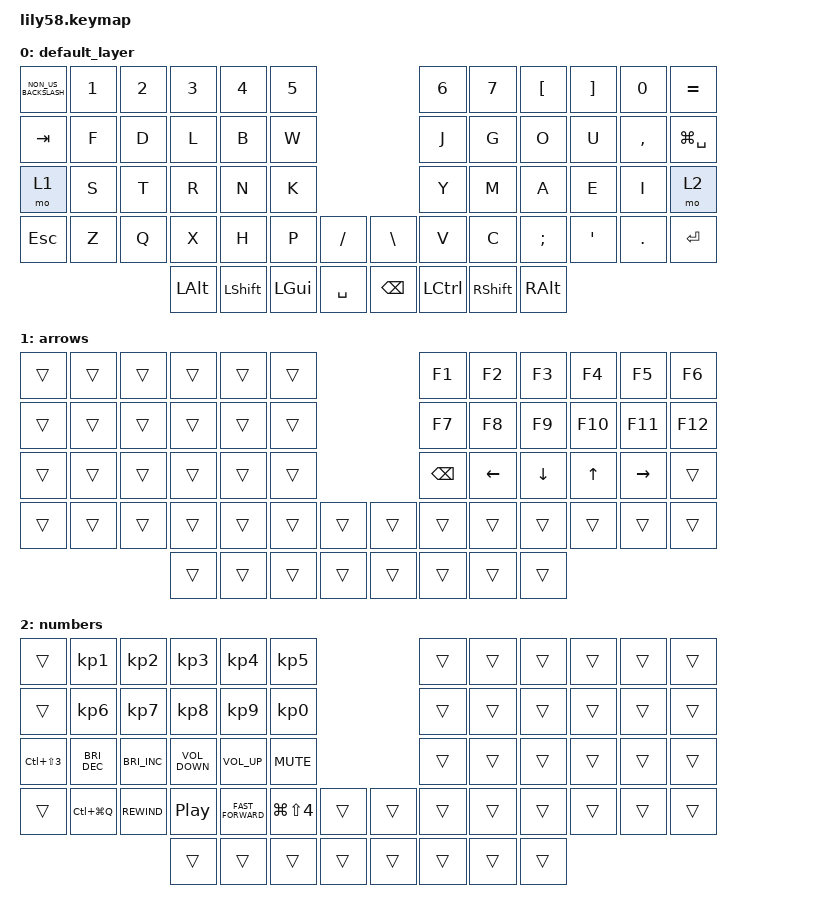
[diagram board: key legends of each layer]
/*
 * Copyright (c) 2020 The ZMK Contributors
 *
 * SPDX-License-Identifier: MIT
 */

#include <behaviors.dtsi>
#include <dt-bindings/zmk/keys.h>

/ {
    combos { compatible = "zmk,combos"; };

    behaviors {
        kh_hs_tapdance: kh_hs_tapdance {
            compatible = "zmk,behavior-tap-dance";
            label = "KH_HS_TAPDANCE";
            #binding-cells = <0>;
            tapping-term-ms = <200>;
            bindings = <&kp LEFT_BRACKET>, <&kp RIGHT_BRACKET>;
        };

        hrm: hrm {
            compatible = "zmk,behavior-hold-tap";
            #binding-cells = <2>;
            flavor = "tap-preferred";
            tapping-term-ms = <200>;
            quick-tap-ms = <200>;
            require-prior-idle-ms = <125>;
            bindings = <&kp>, <&kp>;
        };
    };

    keymap {
        compatible = "zmk,keymap";

        default_layer {
            // ------------------------------------------------------------------------------------------------------------
            // |  ESC  |  1  |  2  |  3   |  4   |  5   |                   |  6   |  7    |  8    |  9   |   0   |   `   |
            // |  TAB  |  Q  |  W  |  E   |  R   |  T   |                   |  Y   |  U    |  I    |  O   |   P   |   -   |
            // |  CTRL |  A  |  S  |  D   |  F   |  G   |                   |  H   |  J    |  K    |  L   |   ;   |   '   |
            // | SHIFT |  Z  |  X  |  C   |  V   |  B   |   "["  |  |  "]"  |  N   |  M    |  ,    |  .   |   /   | SHIFT |
            //                     | ALT  | GUI  | LOWER|  SPACE |  | ENTER | RAISE| BSPC  | GUI   |

            bindings = <
&kp NON_US_BACKSLASH  &kp N1  &kp N2  &kp N3    &kp N4     &kp N5                                &kp N6     &kp NUMBER_7     &kp LEFT_BRACKET  &kp RIGHT_BRACKET  &kp N0     &kp EQUAL
&kp TAB               &kp F   &kp D   &kp L     &kp B      &kp W                                 &kp J      &kp G            &kp O             &kp U              &kp COMMA  &kp LG(SPACE)
&mo 1                 &kp S   &kp T   &kp R     &kp N      &kp K                                 &kp Y      &kp M            &kp A             &kp E              &kp I      &mo 2
&kp ESC               &kp Z   &kp Q   &kp X     &kp H      &kp P     &kp SLASH    &kp BACKSLASH  &kp V      &kp C            &kp SEMICOLON     &kp SQT            &kp DOT    &kp RET
                                      &kp LALT  &kp LSHFT  &kp LGUI  &kp SPACE    &kp BSPC       &kp LCTRL  &kp RIGHT_SHIFT  &kp RIGHT_ALT
            >;
        };

        arrows {
            bindings = <
&trans  &trans  &trans  &trans  &trans  &trans                    &kp F1    &kp F2    &kp F3    &kp F4   &kp F5     &kp F6
&trans  &trans  &trans  &trans  &trans  &trans                    &kp F7    &kp F8    &kp F9    &kp F10  &kp F11    &kp F12
&trans  &trans  &trans  &trans  &trans  &trans                    &kp BSPC  &kp LEFT  &kp DOWN  &kp UP   &kp RIGHT  &trans
&trans  &trans  &trans  &trans  &trans  &trans  &trans    &trans  &trans    &trans    &trans    &trans   &trans     &trans
                        &trans  &trans  &trans  &trans    &trans  &trans    &trans    &trans
            >;
        };

        numbers {
            bindings = <
&trans                &kp KP_NUMBER_1       &kp KP_NUMBER_2       &kp KP_NUMBER_3    &kp KP_NUMBER_4     &kp KP_NUMBER_5                         &trans  &trans  &trans  &trans  &trans  &trans
&trans                &kp KP_NUMBER_6       &kp KP_NUMBER_7       &kp KP_NUMBER_8    &kp KP_NUMBER_9     &kp KP_NUMBER_0                         &trans  &trans  &trans  &trans  &trans  &trans
&kp LC(LS(NUMBER_3))  &kp C_BRIGHTNESS_DEC  &kp C_BRIGHTNESS_INC  &kp C_VOLUME_DOWN  &kp C_VOLUME_UP     &kp K_MUTE                              &trans  &trans  &trans  &trans  &trans  &trans
&trans                &kp LC(LG(Q))         &kp C_REWIND          &kp C_PLAY_PAUSE   &kp C_FAST_FORWARD  &kp LG(LS(NUMBER_4))  &trans    &trans  &trans  &trans  &trans  &trans  &trans  &trans
                                                                  &trans             &trans              &trans                &trans    &trans  &trans  &trans  &trans
            >;
        };
    };
};
